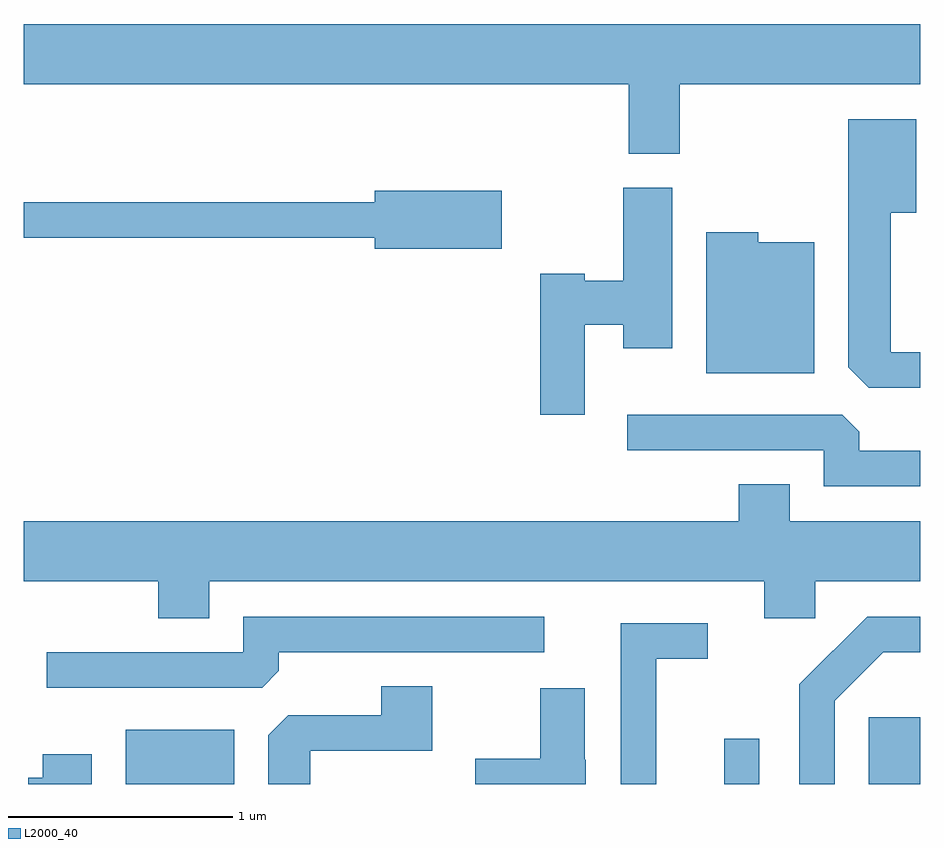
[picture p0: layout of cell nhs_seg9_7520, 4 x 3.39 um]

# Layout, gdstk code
import gdstk
lib = gdstk.Library(unit=1e-6, precision=1e-09)
def R(c, l, rs):  # rectangles x0, y0, x1, y1
    for r in rs: c.add(gdstk.rectangle(r[:2], r[2:], *l))
def P(c, l, *ps):  # polygons
    for p in ps: c.add(gdstk.Polygon(p, *l))
L2000_40 = (2000, 40)

nhs_seg9_7520 = lib.new_cell('nhs_seg9_7520')
R(nhs_seg9_7520, L2000_40, [(408.066,2026.432,408.549,2026.674), (410.736,2026.432,410.894,2026.633), (411.381,2026.432,411.611,2026.729)])
P(nhs_seg9_7520, L2000_40, [(410.539,2029.556),(411.611,2029.556),(411.611,2029.824),(407.611,2029.824),(407.611,2029.556),(410.311,2029.556),(410.311,2029.246),(410.539,2029.246)],
  [(411.611,2028.359),(411.479,2028.359),(411.479,2028.981),(411.594,2028.981),(411.594,2029.399),(411.291,2029.399),(411.291,2028.292),(411.382,2028.201),(411.611,2028.201)],
  [(410.114,2028.481),(410.286,2028.481),(410.286,2028.376),(410.504,2028.376),(410.504,2029.094),(410.286,2029.094),(410.286,2028.679),(410.114,2028.679),(410.114,2028.709),(409.916,2028.709),(409.916,2028.081),(410.114,2028.081)],
  [(409.744,2029.079),(409.176,2029.079),(409.176,2029.029),(407.611,2029.029),(407.611,2028.871),(409.176,2028.871),(409.176,2028.821),(409.744,2028.821)],
  [(411.139,2028.849),(410.889,2028.849),(410.889,2028.894),(410.656,2028.894),(410.656,2028.266),(411.139,2028.266)],
  [(411.611,2027.919),(411.339,2027.919),(411.339,2028.004),(411.264,2028.079),(410.303,2028.079),(410.303,2027.921),(411.181,2027.921),(411.181,2027.761),(411.611,2027.761)],
  [(408.439,2027.336),(410.916,2027.336),(410.916,2027.171),(411.144,2027.171),(411.144,2027.336),(411.611,2027.336),(411.611,2027.604),(411.029,2027.604),(411.029,2027.769),(410.801,2027.769),(410.801,2027.604),(407.611,2027.604),(407.611,2027.336),(408.211,2027.336),(408.211,2027.171),(408.439,2027.171)],
  [(411.229,2026.804),(411.447,2027.021),(411.611,2027.021),(411.611,2027.179),(411.374,2027.179),(411.071,2026.877),(411.071,2026.432),(411.229,2026.432)],
  [(408.749,2026.937),(408.749,2027.021),(409.933,2027.021),(409.933,2027.179),(408.591,2027.179),(408.591,2027.019),(407.713,2027.019),(407.713,2026.861),(408.674,2026.861)],
  [(410.434,2026.991),(410.663,2026.991),(410.663,2027.149),(410.276,2027.149),(410.276,2026.432),(410.434,2026.432)],
  [(408.889,2026.581),(409.434,2026.581),(409.434,2026.869),(409.206,2026.869),(409.206,2026.739),(408.792,2026.739),(408.701,2026.649),(408.701,2026.432),(408.889,2026.432)],
  [(410.119,2026.54),(410.114,2026.54),(410.114,2026.859),(409.916,2026.859),(409.916,2026.544),(409.626,2026.544),(409.626,2026.432),(410.119,2026.432)],
  [(407.914,2026.564),(407.696,2026.564),(407.696,2026.459),(407.631,2026.459),(407.631,2026.432),(407.914,2026.432)])

lib.write_gds('nhs_seg9_7520.gds')
